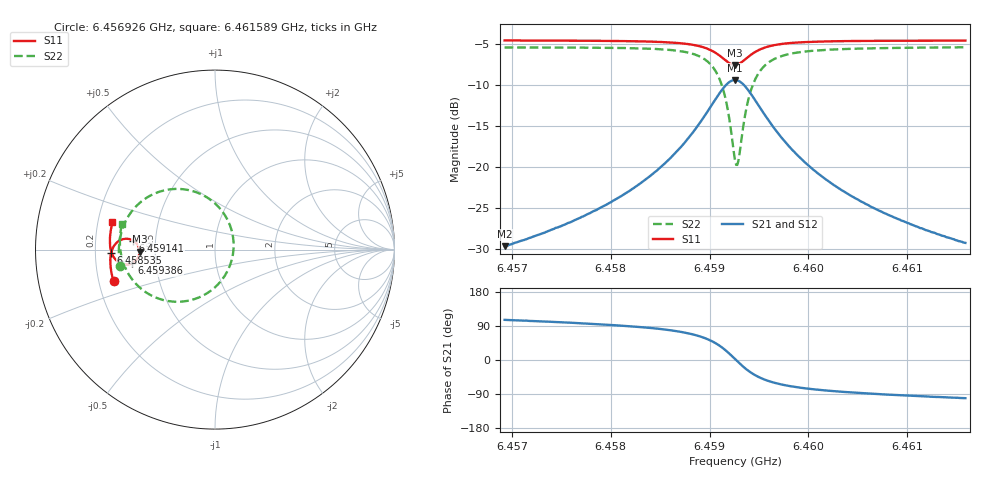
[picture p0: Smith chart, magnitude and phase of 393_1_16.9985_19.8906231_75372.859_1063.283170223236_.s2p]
#  HZ  S  RI  R  50.00
! Rohde & Schwarz Vector Network Analyzer
! Rohde-Schwarz,ZNB20-2Port,1311601062101988,3.16
! Created: UTC 3/20/2024, 11:09:43 PM
! freq[Hz]  re:S11  im:S11  re:S21  im:S21  re:S12  im:S12  re:S22  im:S22
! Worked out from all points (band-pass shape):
!   401 points, 6.456926 GHz to 6.461589 GHz, reference 50 ohm
!   highest |S21| = -9.36 dB at 6.459258 GHz (marker M1); lowest = -29.6 dB at 6.456926 GHz (marker M2)
!   |S21| within 3 dB of the highest: 6.459024 GHz to 6.459491 GHz (466.3 kHz wide, 0.00722 % of centre)
!   lowest |S11| = -7.5 dB at 6.459258 GHz (marker M3), VSWR 2.45, Z = 20.4 - j0.561 ohm
!   |S11| at or under -10 dB: nowhere
!   |S22| runs from -19.7 to -5.4 dB; largest |S21 - S12| = 0.013
!   S11 on the Smith chart (normalised r, x): 6.456926 GHz: 0.26, -0.14; 6.458535 GHz: 0.27, -0.01; 6.459141 GHz: 0.37, +0.05; 6.459386 GHz: 0.36, -0.07; 6.461589 GHz: 0.26, +0.12
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6.4569265e9  -0.5654 -0.1761  -0.0091 0.0318  -0.00735 0.0318  -0.5293 -0.0891
6.4577074e9  -0.5801 -0.1082  -0.00589 0.0496  -0.00335 0.0491  -0.5356 0.000957
6.4581736e9  -0.5834 -0.0615  0.000684 0.0709  0.00391 0.0695  -0.5269 0.0747
6.4584883e9  -0.5799 -0.0238  0.0133 0.0974  0.0172 0.0946  -0.5038 0.1456
6.458535e9  -0.5784 -0.0176  0.0167 0.1027  0.0207 0.0998  -0.4977 0.1588
6.4587448e9  -0.5665 0.0143  0.0424 0.134  0.0464 0.1293  -0.4499 0.2299
6.4588963e9  -0.5456 0.0405  0.0843 0.1642  0.0876 0.1576  -0.3727 0.2939
6.4590478e9  -0.5 0.0603  0.1747 0.1832  0.1758 0.1759  -0.2073 0.3382
6.4591411e9  -0.456 0.0506  0.2635 0.1528  0.2638 0.1469  -0.0431 0.2899
6.4591877e9  -0.4351 0.032  0.3068 0.1107  0.3079 0.1056  0.0387 0.2153
6.4592576e9  -0.4204 -0.0113  0.3399 0.0154  0.3434 0.00862  0.1036 0.0388
6.4592693e9  -0.4209 -0.0192  0.3398 -0.00228  0.3434 -0.00957  0.1035 0.00579
6.4592926e9  -0.4243 -0.0346  0.3344 -0.0363  0.3381 -0.0451  0.093 -0.0589
6.4593392e9  -0.4396 -0.0603  0.3067 -0.0955  0.3086 -0.1069  0.037 -0.1704
6.4593858e9  -0.4613 -0.0764  0.2654 -0.1358  0.2645 -0.1489  -0.0461 -0.2444
6.4594791e9  -0.504 -0.0829  0.1819 -0.167  0.176 -0.1783  -0.2118 -0.2908
6.4596306e9  -0.5473 -0.0625  0.0953 -0.1538  0.0872 -0.1599  -0.3768 -0.243
6.4597938e9  -0.5686 -0.0349  0.0511 -0.1265  0.0436 -0.1292  -0.4563 -0.1724
6.4600386e9  -0.5812 0.000674  0.0222 -0.0957  0.0165 -0.0961  -0.504 -0.0911
6.4603882e9  -0.5856 0.0418  0.00633 -0.0692  0.0024 -0.0688  -0.5255 -0.0129
6.4608195e9  -0.5835 0.0848  -0.00148 -0.0511  -0.00408 -0.0503  -0.5298 0.055
6.4615888e9  -0.5711 0.1529  -0.00645 -0.0341  -0.00806 -0.0332  -0.5184 0.1447
